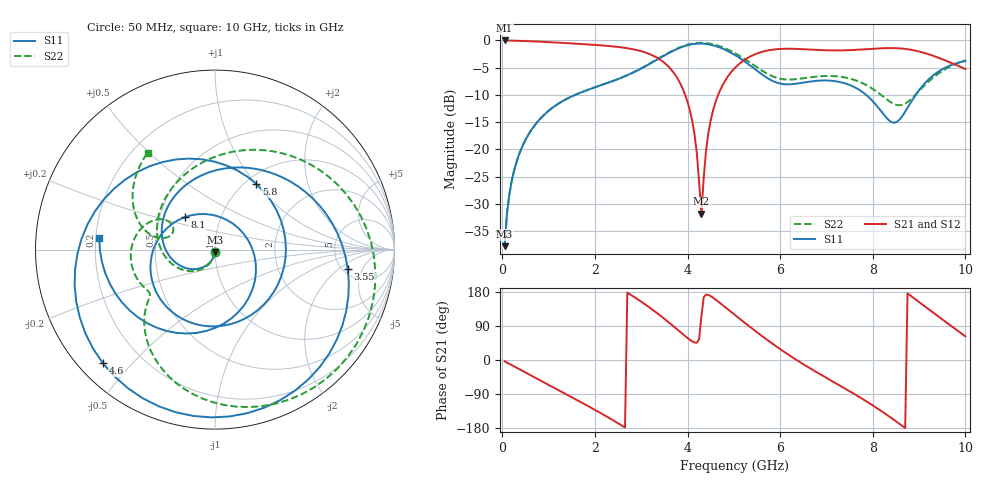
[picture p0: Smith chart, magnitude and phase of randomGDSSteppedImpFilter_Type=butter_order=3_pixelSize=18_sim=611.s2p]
! freq	dB(S11)	phase(S11)	dB(S12)	phase(S12)
!  dB(S21)	phase(S21)	dB(S22)	phase(S22)
!S-par simulation data
#  GHz  S  DB  R 50
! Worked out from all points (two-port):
!   200 points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, 50 MHz to 10 GHz, reference 50 ohm
!   highest |S21| = -0.01 dB at 50 MHz (marker M1); lowest = -31.8 dB at 4.3 GHz (marker M2)
!   |S21| within 3 dB of the highest: start of sweep to 3.307 GHz; 5.342 GHz to 9.365 GHz (4.023 GHz wide, 54.7 % of centre)
!   lowest |S11| = -37.7 dB at 50 MHz (marker M3), VSWR 1.03, Z = 49.9 - j1.29 ohm
!   |S11| at or under -10 dB: start of sweep to 1.572 GHz; 7.857 GHz to 8.927 GHz (1.07 GHz wide, 12.8 % of centre)
!   |S22| runs from -37.8 to -0.4 dB; largest |S21 - S12| = 0
!   S11 on the Smith chart (normalised r, x): 50 MHz: 1.00, -0.03; 3.55 GHz: 5.54, -2.74; 4.6 GHz: 0.07, -0.42; 5.8 GHz: 1.12, +1.01; 8.1 GHz: 0.67, +0.26; 10 GHz: 0.21, +0.05
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0.05  -37.75 -92.6  -0.01 -3.4  -0.01 -3.4  -37.76 -92.4
0.2  -25.93 -103.8  -0.03 -13.2  -0.03 -13.2  -25.93 -102.4
0.5  -18.26 -125.2  -0.11 -33.0  -0.11 -33.0  -18.26 -121.7
1.15  -11.95 -170.4  -0.38 -75.3  -0.38 -75.3  -11.95 -161.6
1.75  -9.38 146.9  -0.68 -114.7  -0.68 -114.7  -9.38 162.1
2.6  -6.75 81.2  -1.31 -174.4  -1.31 -174.4  -6.73 108.3
3.4  -3.24 7.5  -3.48 118.3  -3.48 118.3  -3.19 46.3
3.55  -2.52 -8.4  -4.48 103.8  -4.48 103.8  -2.46 32.4
4.05  -0.78 -66.5  -12.82 53.4  -12.82 53.4  -0.67 -18.2
4.3  -0.59 -97.3  -31.78 115.5  -31.78 115.5  -0.44 -44.1
4.4  -0.65 -109.7  -20.18 172.6  -20.18 172.6  -0.49 -54.1
4.6  -1.02 -134.5  -11.44 160.1  -11.44 160.1  -0.81 -73.2
5.05  -2.81 168.7  -4.82 116.2  -4.82 116.2  -2.45 -109.7
5.4  -4.91 120.7  -2.76 82.6  -2.76 82.6  -4.36 -130.0
5.8  -7.28 57.9  -1.74 46.0  -1.74 46.0  -6.45 -142.0
6.7  -7.49 -72.8  -1.70 -25.9  -1.70 -25.9  -6.71 -158.7
7.45  -8.01 -149.1  -1.80 -78.9  -1.80 -78.9  -6.89 172.1
8.1  -12.13 133.2  -1.48 -127.8  -1.48 -127.8  -9.50 149.9
8.35  -14.67 82.6  -1.41 -148.6  -1.41 -148.6  -11.12 149.7
8.85  -10.99 -38.1  -1.76 166.6  -1.76 166.6  -10.58 167.6
9.3  -6.45 -102.6  -2.81 125.2  -2.81 125.2  -6.84 159.7
10  -3.77 174.5  -5.26 62.5  -5.26 62.5  -3.64 124.8
